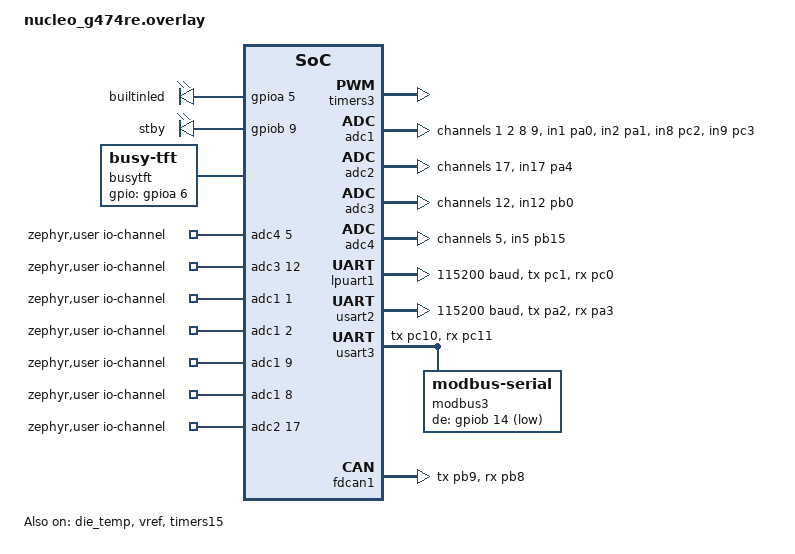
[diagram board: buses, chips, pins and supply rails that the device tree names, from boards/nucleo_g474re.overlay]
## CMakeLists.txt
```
# SPDX-License-Identifier: Apache-2.0

cmake_minimum_required(VERSION 3.20.0)
find_package(Zephyr REQUIRED HINTS $ENV{ZEPHYR_BASE})
project(PI_ONE)


target_include_directories(app PRIVATE inc)
FILE(GLOB app_sources src/*.c src/*.cpp)
# target_sources(app PRIVATE src/main.c)
target_sources(app PRIVATE ${app_sources})

#optimizain disable begin
add_library(set-app-flags INTERFACE)
target_compile_options(set-app-flags INTERFACE -O0)
target_link_libraries(app PRIVATE set-app-flags)
#optimizain disable end
```

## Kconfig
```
mainmenu "PI_ONE"


source "Kconfig.zephyr"
config PI_ONE_STM32_HAL
  default y
  bool
  select USE_STM32_HAL_GPIO
  select USE_STM32_HAL_HRTIM
	select USE_STM32_HAL_ADC
	select USE_STM32_HAL_ADC_EX


config SAMPLE_LOOPBACK_MODE
	bool "Use CAN loopback mode"
	help
	  Set the CAN controller to loopback mode. This allows testing without a second board.

config SAMPLE_RX_THREAD_STACK_SIZE
	int "RX threads stack size"
	default 1024
	help
	  Stack size (in bytes) used for the RX threads.

config SAMPLE_RX_THREAD_PRIORITY
	int "RX threads priority"
	default 2
	help
	  Priority used for the RX threads.

config SAMPLE_CAN_FD_MODE
	bool "Use CAN FD"
	select CAN_FD_MODE

config ISOTP_RX_BUF_COUNT
	default 4 if SAMPLE_CAN_FD_MODE
	default 2
```

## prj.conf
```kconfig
CONFIG_STDOUT_CONSOLE=y
CONFIG_PRINTK=y
CONFIG_PWM=y
CONFIG_LOG=y
CONFIG_LOG_PRINTK=y
CONFIG_LOG_MODE_IMMEDIATE=y
CONFIG_PWM_LOG_LEVEL_DBG=y
CONFIG_ADC=y
CONFIG_GPIO=y
CONFIG_SERIAL=y
CONFIG_UART_INTERRUPT_DRIVEN=y
CONFIG_THREAD_ANALYZER=y
# CONFIG_THREAD_ANALYZER_AUTO=y
# CONFIG_THREAD_ANALYZER_AUTO_INTERVAL=5
CONFIG_THREAD_NAME=y
# CONFIG_MAIN_THREAD_PRIORITY=7

# CONFIG_BOOTLOADER_MCUBOOT=y
# CONFIG_MCUBOOT_SIGNATURE_KEY_FILE="bootloader/mcuboot/root-rsa-2048"
# CONFIG_OPENOCD=y

# CONFIG_USB_DFU_REBOOT=y

# CONFIG_USB_DFU_PERMANENT_DOWNLOAD=y

CONFIG_CMSIS_DSP=y


#modbus
CONFIG_LOG=y
CONFIG_GPIO=y
CONFIG_SERIAL=y
CONFIG_UART_INTERRUPT_DRIVEN=y
CONFIG_UART_LINE_CTRL=n
CONFIG_MODBUS=y
#client
CONFIG_MODBUS_ROLE_CLIENT=y
CONFIG_MAIN_STACK_SIZE=2048
#end client
# CONFIG_MODBUS_ROLE_SERVER=y
#modbus

#die sensro begin
CONFIG_SENSOR=y

#die sensor end


#can bagin
CONFIG_LOG=y

CONFIG_CAN=y
CONFIG_CAN_MAX_FILTER=8
CONFIG_ISOTP=y
# We have two receiving contexts that are bound to a single address.
CONFIG_ISOTP_RX_SF_FF_BUF_COUNT=2
#can end


#counter begin
CONFIG_COUNTER=y
# CONFIG_COUNTER_TIMER_STM32=y
# CONFIG_COUNTER_RTC_STM32=n

#counter end
```

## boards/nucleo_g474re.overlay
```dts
/{
	pwmleds {
		allpwms: allpwms{
			pwms = <&pwm3 1 PWM_KHZ(100) PWM_POLARITY_NORMAL>,
				   <&pwm3 2 PWM_KHZ(100) PWM_POLARITY_NORMAL>,
				   <&pwm3 3 PWM_KHZ(100) PWM_POLARITY_NORMAL>;

		};	
	};
	leds: leds {
		compatible = "gpio-leds";	
		builtinled: builtinled {
			gpios = < &gpioa 5 GPIO_ACTIVE_HIGH >;	
		};
		stby: stby {
			gpios = < &gpiob 9 (GPIO_PULL_DOWN | GPIO_ACTIVE_HIGH) >;	
		};
	};

	busytft: busytft{
		compatible = "busy-tft";
		gpios = <&gpioa 6 GPIO_PULL_DOWN>;

	};
	aliases {

		led0 = &builtinled;
		modbus = &modbus3;
		lcdusart = &lpuart1;
		// lcdusart = &usart2;
		die-temp0 = &die_temp;

	};
	
	zephyr,user {
		io-channels = <&adc4 5>, <&adc3 12>, <&adc1 1>, <&adc1 2>, <&adc1 9>, <&adc1 8>, <&adc2 17>;
	};
	chosen {
		// zephyr,console = &lpuart1;
		// zephyr,shell-uart = &lpuart1;
		zephyr,console = &usart2;
		zephyr,shell-uart = &usart2;
		// zephyr,console = &usart1;
		// zephyr,shell-uart = &usart1;
	};
};

&green_pwm_led {
	status = "disabled";
};

// &timers1 {
// 	st,prescaler = <1>;
// 	status = "okay";

// 	pwm1: pwm {
// 		status = "okay";
// 		pinctrl-0 = <&tim1_ch1_pa8 &tim1_ch2_pa9>;
// 		pinctrl-names = "default";
// 	};
// };

&timers3 {
	st,prescaler = <1>;
	status = "okay";

	pwm3: pwm {
		status = "okay";
		pinctrl-0 = < &tim3_ch1_pc6 &tim3_ch2_pa7 &tim3_ch3_pc8>;
		pinctrl-names = "default";
	};
};


&adc1 {
	
	st,adc-prescaler = < 4 >;
	status = "okay";
	#address-cells = <1>;
	#size-cells = <0>;
	st,adc-clock-source = <SYNC>;
	pinctrl-0 = <&adc1_in1_pa0 &adc1_in2_pa1 &adc1_in8_pc2 &adc1_in9_pc3>;
	pinctrl-names = "default";
	channel@1{
		reg = < 1 >;
		zephyr,gain = "ADC_GAIN_1";
		zephyr,reference = "ADC_REF_INTERNAL";	
		zephyr,acquisition-time = <ADC_ACQ_TIME_DEFAULT>;
		zephyr,resolution = <12>;
		// zephyr,vref-mv =<2048>;
		zephyr,oversampling = <4>;

	};

	channel@2{
		reg = <2>;
		zephyr,gain = "ADC_GAIN_1";
		zephyr,reference = "ADC_REF_INTERNAL";
		zephyr,acquisition-time = <ADC_ACQ_TIME_DEFAULT>;
		zephyr,resolution = <12>;
		zephyr,oversampling = <4>;

	};

	channel@8{
		reg = <8>;
		zephyr,gain = "ADC_GAIN_1";
		zephyr,reference = "ADC_REF_INTERNAL";
		zephyr,acquisition-time = <ADC_ACQ_TIME_DEFAULT>;
		zephyr,resolution = <12>;
		zephyr,oversampling = <4>;

	};

	channel@9{
		reg = <9>;
		zephyr,gain = "ADC_GAIN_1";
		zephyr,reference = "ADC_REF_INTERNAL";
		zephyr,acquisition-time = <ADC_ACQ_TIME_DEFAULT>;
		zephyr,resolution = <12>;
		zephyr,oversampling = <4>;

	};


};

&adc2 {
	st,adc-prescaler = < 2 >;
	status = "okay";
	#address-cells = <1>;
	#size-cells = <0>;
	st,adc-clock-source = <SYNC>;
	pinctrl-0 = <&adc2_in17_pa4>;
	pinctrl-names = "default";
	channel@11{
		reg = <0x11>;
		zephyr,gain = "ADC_GAIN_1";
		zephyr,reference = "ADC_REF_INTERNAL";
		zephyr,acquisition-time = <ADC_ACQ_TIME_DEFAULT>;
		zephyr,resolution = <12>;
		zephyr,oversampling = <4>;

	};

};


&adc3 {
	st,adc-prescaler = < 2 >;
	status = "okay";
	#address-cells = <1>;
	#size-cells = <0>;
	st,adc-clock-source = <SYNC>;
	pinctrl-0 = <&adc3_in12_pb0>;
	pinctrl-names = "default";
	channel@c{
		reg = <0xc>;
		zephyr,gain = "ADC_GAIN_1";
		zephyr,reference = "ADC_REF_INTERNAL";
		zephyr,acquisition-time = <ADC_ACQ_TIME_DEFAULT>;
		zephyr,resolution = <12>;
		zephyr,oversampling = <4>;

	};
};

&adc4 {
	st,adc-prescaler = < 2 >;
	status = "okay";
	#address-cells = <1>;
	#size-cells = <0>;
	st,adc-clock-source = <SYNC>;
	pinctrl-0 = <&adc4_in5_pb15>;
	pinctrl-names = "default";
	
	channel@5{
		reg = < 5 >;
		zephyr,gain = "ADC_GAIN_1";
		zephyr,reference = "ADC_REF_INTERNAL";
		zephyr,acquisition-time = <ADC_ACQ_TIME_DEFAULT>;
		zephyr,resolution = <12>;
		zephyr,oversampling = <4>;
		

	};
};

&lpuart1 {
	status = "okay";
	pinctrl-0 = < &lpuart1_tx_pc1 &lpuart1_rx_pc0>;
	// pinctrl-names = "default", "analog";
	current-speed = < 115200 >;
};


// &usart1 {
// 	status = "okay";
// 	pinctrl-0 = < &usart1_tx_pc4 &usart1_rx_pc5>;
// 	pinctrl-names = "default";
// 	current-speed = < 115200 >;	
// };



&usart2 {
	status = "okay";
	pinctrl-0 = < &usart2_tx_pa2 &usart2_rx_pa3 >;
	pinctrl-names = "default";
	current-speed = < 115200 >;
	// fifo-enable;
};



&usart3 {
	status = "okay";
	pinctrl-0 = < &usart3_tx_pc10 &usart3_rx_pc11 >;
	pinctrl-names = "default";
	modbus3: modbus{
		compatible = "zephyr,modbus-serial";
		status = "okay";
		de-gpios = < &gpiob 14 GPIO_ACTIVE_LOW >;
	};
};


&fdcan1 {
	status = "okay";
	pinctrl-0 = < &fdcan1_tx_pb9 &fdcan1_rx_pb8 >;
	pinctrl-names = "default";
};
&die_temp {
	status = "okay";
};


// &usb {
// 	status = "okay";
// };

// hrtim1_cha1_pa8
//hrtim1_cha2_pa9
// hrtim1_scin_pb6
//hrtim1_scout_pb1 
&vref {
	status = "okay";
	// vrefint-cal-mv = <2048>;
};

&clk_hsi {
	status = "disabled";
};

&clk_hse {
	status = "okay";
};

&pll {
	clocks = <&clk_hse>;
	div-m = <6>;
	mul-n = <85>;
	div-q = <2>;
	div-p = <2>;
};



&timers15 {
	leg_one_counter: counter {
		status = "okay";
	};

	status = "okay";
	st,prescaler = <0>;
};
```

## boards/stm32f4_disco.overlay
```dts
/{
	pwmleds: pwmleds {
		compatible = "pwm-leds";
		status = "okay";

		pwm_led0: pwm_led0 {
			pwms = <&pwm1 1 PWM_KHZ(100) PWM_POLARITY_NORMAL>;
		};

		pwm_led1: pwm_led1{
			pwms = < &pwm1 2 PWM_KHZ(100) PWM_POLARITY_NORMAL>;
		};
		pwm_led2: pwm_led2{

		pwms = < &pwm4 1 PWM_KHZ(100) PWM_POLARITY_NORMAL>;
		};
	};

	leds: leds {
		compatible = "gpio-leds";	
		green_led: led_6 {
			gpios = < &gpiod 15 GPIO_ACTIVE_HIGH >;	
		};
	};

	aliases {

		pwmt = &pwm_led0;
		pwmn = &pwm_led1;
		pwmtest = &pwm_led2;
		led0 = &green_led;
		deviceusart = &usart3;

	};

	zephyr,user {
		io-channels = <&adc1 0>, <&adc1 1>, <&adc1 12>, <&adc1 13>;
	};
	chosen {
		zephyr,console = &usart2;
		zephyr,shell-uart = &usart2;
	};
};


&timers1 {
	status = "okay";

	pwm1: pwm {
		status = "okay";
		// pinctrl-0 = <&tim1_ch1_pa8>;
		pinctrl-0 = <&tim1_ch1_pa8 &tim1_ch2_pa9>;
		pinctrl-names = "default";
	};
};

&timers4 {
	status = "okay";
	pwm4: pwm {
		status = "okay";
		pinctrl-0 = < &tim4_ch1_pb6>;
		pinctrl-names = "default";
	};
};


&adc1 {
	
	st,adc-prescaler = < 4 >;
	status = "okay";
	#address-cells = <1>;
	#size-cells = <0>;
	st,adc-clock-source = <SYNC>;
	pinctrl-0 = <&adc1_in0_pa0 &adc1_in1_pa1 &adc1_in12_pc2 &adc1_in13_pc3>;
	pinctrl-names = "default";
	channel@0{
		reg = < 0 >;
		zephyr,gain = "ADC_GAIN_1";
		zephyr,reference = "ADC_REF_INTERNAL";
		zephyr,acquisition-time = <ADC_ACQ_TIME_DEFAULT>;
		zephyr,resolution = <12>;

	};

	channel@1{
		reg = <1>;
		zephyr,gain = "ADC_GAIN_1";
		zephyr,reference = "ADC_REF_INTERNAL";
		zephyr,acquisition-time = <ADC_ACQ_TIME_DEFAULT>;
		zephyr,resolution = <12>;

	};

	channel@c{
		reg = <0xc>;
		zephyr,gain = "ADC_GAIN_1";
		zephyr,reference = "ADC_REF_INTERNAL";
		zephyr,acquisition-time = <ADC_ACQ_TIME_DEFAULT>;
		zephyr,resolution = <12>;

	};

	channel@d{
		reg = <0xd>;
		zephyr,gain = "ADC_GAIN_1";
		zephyr,reference = "ADC_REF_INTERNAL";
		zephyr,acquisition-time = <ADC_ACQ_TIME_DEFAULT>;
		zephyr,resolution = <12>;

	};
};

&adc3 {
	st,adc-prescaler = < 2 >;
	status = "okay";
	#address-cells = <1>;
	#size-cells = <0>;
	st,adc-clock-source = <SYNC>;
	pinctrl-0 = <&adc3_in12_pb0 &adc3_in1_pb1>;
	pinctrl-names = "default";
	channel@1{
		reg = < 1 >;
		zephyr,gain = "ADC_GAIN_1";
		zephyr,reference = "ADC_REF_INTERNAL";
		zephyr,acquisition-time = <ADC_ACQ_TIME_DEFAULT>;
		zephyr,resolution = <12>;

	};

	channel@c{
		reg = <0xc>;
		zephyr,gain = "ADC_GAIN_1";
		zephyr,reference = "ADC_REF_INTERNAL";
		zephyr,acquisition-time = <ADC_ACQ_TIME_DEFAULT>;
		zephyr,resolution = <12>;

	};
};

&adc4 {
	st,adc-prescaler = < 2 >;
	status = "okay";
	#address-cells = <1>;
	#size-cells = <0>;
	st,adc-clock-source = <SYNC>;
	pinctrl-0 = <&adc4_in5_pb15>;
	pinctrl-names = "default";
	channel@5{
		reg = < 5 >;
		zephyr,gain = "ADC_GAIN_1";
		zephyr,reference = "ADC_REF_INTERNAL";
		zephyr,acquisition-time = <ADC_ACQ_TIME_DEFAULT>;
		zephyr,resolution = <12>;

	};
};

// &usart1 {
// 	status = "disabled";
// };

&usart2 {
	status = "okay";
	pinctrl-0 = < &usart2_tx_pa2 &usart2_rx_pa3 >;
	pinctrl-names = "default";
	current-speed = < 115200 >;
};

&usart3 {
	status = "okay";
	pinctrl-0 = <  &usart3_tx_pc10 &usart3_rx_pc11 >;
	pinctrl-names = "default";
	current-speed = < 115200 >;
};


&can1 {
	status = "okay";
	pinctrl-0 = < &can1_tx_pb9 &can1_rx_pb8 >;
	pinctrl-names = "default";
};
```

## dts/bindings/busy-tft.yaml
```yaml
description: GPIO pin to check whether tft lcd is busy or not. 

compatible: "busy-tft"

properties:
  gpios:
    type: phandle-array
    required: true
    description: |
      The GPIO connected to the busy pin from LCD.
```

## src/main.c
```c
/*
 * Copyright (c) 2016 Intel Corporation
 * Copyright (c) 2020 Nordic Semiconductor ASA
 *
 * SPDX-License-Identifier: Apache-2.0
 */

/**
 * @file Sample app to demonstrate PLONE.
 * 1-Manual Settings
 * 1-1-CoV mode
 * 1-2-BatCh mode
 * 2-Auto settings
 */



#include <stm32g4xx_hal.h>
#include <zephyr/drivers/sensor.h>
#include "../inc/main.h"
#include "../inc/leds.h"
#include "../inc/adcs.h"
#include "../inc/pwms.h"
#include "../inc/modbus.h"
#include "hrtim.h"
#include "queues.h"
#include "controllers.h"
#include "math.h"
#include "closedLoop.h"
#include "counters.h"



LOG_MODULE_REGISTER(main, LOG_LEVEL_NONE);

#if !DT_NODE_EXISTS(DT_NODELABEL(busytft))
#error "Overlay for busytft node not properly defined."
#endif
const struct device *tempSensor = DEVICE_DT_GET(DT_NODELABEL(die_temp));
static const struct gpio_dt_spec busytft =
	GPIO_DT_SPEC_GET_BY_IDX(DT_NODELABEL(busytft), gpios, 0);

static const struct gpio_dt_spec stby = GPIO_DT_SPEC_GET_OR(DT_NODELABEL(stby), gpios,
							      {0});
								  
void Error_Handler(){}
bool checkSequence();
void stbyInit();
PIController PI_voltage;


void initBusyTft()
{
	if(!gpio_is_ready_dt(&busytft))
	{
		LOG_INF("The gpio is not ready.\n");
		return;
	}
	LOG_INF("The gpio is ready to use.\n");
}

void stbyInit()
{
    int ret;
	if (!gpio_is_ready_dt(&stby)) {
		printk("Error: button device %s is not ready\n",
		       stby.port->name);
		return 0;
	}
    ret = gpio_pin_configure_dt(&stby, GPIO_OUTPUT_INACTIVE);

	if (ret != 0) {
		printk("Error %d: failed to configure %s pin %d\n",
		       ret, stby.port->name, stby.pin);
		return 0;
	}

}

void initBoard()
{

	initLeds();
	stbyInit();
	// counter();
	initBusyTft();

// MX_ADC1_Init();
	initAdcs();
	HAL_MspInit();
	initPwms();
	// initCan();
// #ifdef MASTER
// 	rtuClientInit();
// #else
// 	rtuServerInit();
// #endif
}

bool faultHandler(bool status)
{

	if(status)
	{
		pwmSet(DATA_LED_IDX, GREEN_FREQUENCY, 0.5);
		LOG_INF("The led turns green.\n");
	}
	else
	{
		turnOffAllPWMs();
		pwmSet(DATA_LED_IDX, RED_FREQUENCY, 0.5);
		LOG_INF("The led turns red.\n");
		return true;
	}
	return false;
}
void automaticMode()
{
	LOG_INF("Entered automatic mode.\n");
}

void COVMode()
{
	LOG_INF("COVMode is selected.\n");
#ifdef MASTER
	//master calculations for each board
	LOG_INF("Master calculations for each slave.\n");
	//sending parameters for each slave
	LOG_INF("Parameters are sent for each slave.\n");
#else
	//receiving paramters from master.
	LOG_INF("Receiving paramters from master");
#endif
	bool status = true;
	bool fault = false;
	while(count && !fault)// perhaps wait for semaphor to execute
	{
		count = 0;
		status = checkSequence();
		fault = faultHandler(status);
		// voltagePiCotroller();
	}
}

bool getSlaveStatus(uint8_t index)
{
	
}
void COVModeBatChMode()
{
	LOG_INF("COVMode with BatChMode is selected.\n");
#ifdef MASTER
	//master calculations for each board
	LOG_INF("Master calculations for each slave.\n");
	//sending parameters for each slave
	LOG_INF("Parameters are sent for each slave.\n");
#else
	//receiving paramters from master.
	LOG_INF("Receiving paramters from master");
#endif

	bool status = true;
	bool fault = false;
	while(1 && !fault)// perhaps wait for semaphor to execute
	{
		status = checkSequence();
		fault = faultHandler(status);
		// currentPiCotroller();
	}

}
void uniMode()
{
	LOG_INF("Unidirectional Selected.\n");
	LOG_INF("Please select 1 for COVMode and 2 for COVMode with BatChMode.\n");
	uint8_t mode = 0;
	while(k_msgq_get(&lcdMsg, &mode, K_FOREVER));
	//reading from lcd.
	if(mode == 1)
	{
		LOG_INF("COVMode is selected.\n");
		COVMode();
	}
	else if (mode == 2)
	{
		LOG_INF("COVMode with BatChMode is selected.\n");
		COVModeBatChMode();
	}
	else
		LOG_INF("Wrong choice.\n");

}

void powerToOutput()
{
	LOG_INF("Power from input to the output.\n");
}

void powerToInput()
{
	LOG_INF("Power from output to the input.\n");
}

void biMode()
{
	LOG_INF("Entered Bidirectional mode.\n");
	LOG_INF("Please enter voltage battery charge and discharge.\n");
#ifdef DEBUG 
	int vBatCharge, vBatDischarge, inputVoltage;
	printf("Enter voltage baterry charge, discharge and input voltage with space between them.\n");
	scanf("%d %d %d", &vBatCharge, &vBatDischarge, &inputVoltage);
#else
	uint16_t vBatCharge, vBatDischarge, inputVoltage;
	inputVoltage = readAdc(VIN_IDX);
	//vbatCharge and discharge must be provided by user.
#endif
	if(inputVoltage > vBatCharge)
	{
		powerToOutput();
	}
	else
	{
		powerToInput();
	}
}

void manualMode()
{
	LOG_INF("Entered manual mode.\n");
	LOG_INF("Please enter 1 for Unidirectional mode and 2 for Bidirectional mode.\n");
#ifdef DEBUG
	int mode = 0;
	while(k_msgq_get(&lcdMsg, &mode, K_FOREVER));
#else

	float mode = 0;
	//the mode value must be given from uart lcd.
#endif
	while (!((mode == 1) || (mode == 2)))
	{
		LOG_INF("The entered value is incorrect.\n");
		LOG_INF("Please enter 1 for Unidirectional mode and 2 for Bidirectional mode.\n");
		while(k_msgq_get(&lcdMsg, &mode, K_FOREVER));
		// scanf("%d", &mode);
	}	
	if(mode == 1)
	{
		uniMode();
	}
	else
	{
		biMode();
	}
}
bool checkSequence()
{
	uint16_t fan;
#ifdef DEBUG
	printf("What are the values of the following? enter with a sapce between them:\n");
	printf("Now these values are given by the tester user to check the logic of the program.\n");
	printf("In real application these values will be read by the ADC.\n");
	printf("temp temp2 temp_mcu vin vout iIn iOut.\n");
	uint16_t tempSet, temp2Set, tempMcuSet, vInSet, vOutSet, iInSet, iOutSet;
	while(k_msgq_get(&lcdMsg, &tempSet, K_FOREVER));
	while(k_msgq_get(&lcdMsg, &temp2Set, K_FOREVER));
	while(k_msgq_get(&lcdMsg, &tempMcuSet, K_FOREVER));
	while(k_msgq_get(&lcdMsg, &vInSet, K_FOREVER));
	while(k_msgq_get(&lcdMsg, &vOutSet, K_FOREVER));
	while(k_msgq_get(&lcdMsg, &iInSet, K_FOREVER));
	while(k_msgq_get(&lcdMsg, &iOutSet, K_FOREVER));
#elif defined RELEASE
	//struct sensor_value tempStruct;
	//int32_t temp;

	//sensor_sample_fetch(tempSensor);

	//sensor_channel_get(tempSensor, SENSOR_CHAN_DIE_TEMP, &tempStruct);

	//LOG_INF("temp: %d.%06d\n",tempStruct.val1, tempStruct.val2);
	//temp = tempStruct.val1;

#endif
	float temp1 = realTemp(TEMP_IDX);
	LOG_INF("Temp value is: %f\n", temp1);
	float temp2 = realTemp(TEMP2_IDX);
	LOG_INF("Temp2 value is: %f\n", temp2);
	//LOG_DBG("temp mcu value is: %u\n", temp);
	//LOG_DBG("TB value is: %u\n", temp);
	float vIn = realVoltage(VIN_IDX);
	LOG_INF("vin is %f", vIn);
	float vOut = realVoltageN(VOUT_IDX);
	LOG_INF("vout is %f", vOut);
	float iIn = realCurrent(I_IN_IDX);
	LOG_INF("I in value is: %f", iIn);
	float iOut = realCurrent(I_OUT_IDX);
	LOG_INF("I out value is: %f", iOut);


	if((temp1 < TB_INIT_MAX) && (vIn < VIN_INIT_MAX) && ( vOut < VOUT_INIT_MAX) && (iIn < I_IN_INIT_MAX) && (iOut < I_OUT_INIT_MAX))
	{
		return true;
	}
	else
		return false;
}

int tftAccess()
{
	uint8_t userSelection;
	LOG_DBG("Enter user selection.\n");
	while(k_msgq_get(&lcdMsg, &userSelection, K_FOREVER));
	LOG_INF("The user has selected option %u.\n", userSelection);
	return userSelection;
}

int main(void)
{

	initBoard();
	bool status;
	status = checkSequence();
	//pwmSet(HRTIM_IDX, 100000, 0.5);
	//ConfigPIController(&PI_voltage,Kp_i,Ti_i,Up_limit_i,Low_limit_i,F_samp);
	ConfigPIController(&PI_voltage,0.0017,(0.0017/5),0.5,0.2,10000);
	//Ki=Kp/Ti
	gpio_pin_set_dt(&stby, 1);
	


#ifdef DEBUG
status = true;
#endif
	faultHandler(status);
	int busytft = 0;
#ifdef DEBUG
	printf("Set the busyness of the LCD, 1 when the lcd is busy and 0 if the lcd is free.\n");
	while(k_msgq_get(&lcdMsg, &busytft, K_FOREVER));
	while (status && busytft)
	{
		printf("Set the busyness of the LCD, 1 when the lcd is busy and 0 if the lcd is free.\n");
		while(k_msgq_get(&lcdMsg, &busytft, K_FOREVER));
	}
	
#else
	//while((status) && (gpio_pin_get_dt(&busytft)));
#endif
	LOG_INF("The LCD is ready to accept commands.\n");
	LOG_INF("1 for automatic mode and 2 for the manual mode.\n");
	//int userSelection = tftAccess();
	//while(!((userSelection == 1) || (userSelection == 2)))
	//{
	//	LOG_INF("incorrect choice.\n");
	//	LOG_INF("1 for automatic mode and 2 for the manual mode.\n");
	//	userSelection = tftAccess();
	//}
	//if(userSelection == 1)
	//{
		// automaticMode();
	//}
	//else
	//{
		// manualMode();
	//}

	bool otherStatuses = true;
	while(1)
	{
		// while(count)
		// {


		// status = checkSequence();
#ifdef MASTER
//receive status of the whole system.
//check status of the whole system.
//if all statuses are ok conitunes
//else send command to all the devices to stop
		//for(uint8_t i = 0; i < NUMBERS_OF_SLAVES; i++)
		//{
			// otherStatuses &&= getSlaveStatus(i);
		//}
#else
		//send status to the master
		// receive others status from master
#endif
		// faultHandler(status && otherStatuses);
		//if((!status) && (!otherStatuses))
		//{
		//	pwmSet(DATA_LED_IDX, RED_FREQUENCY, 0.5);
		//}	
		//ledTurnOff();
		closedLoop(&PI_voltage, 12000);

		//ledTurnOn();
		
		//count = 0;
		// }
	}	
	return 0;
}
```

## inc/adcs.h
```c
#ifndef __ADCS__H
#define __ADCS__H

#ifdef __cplusplus
extern "C" {
#endif




#define TEMP_IDX                    0
#define TEMP2_IDX                   1
#define VIN_IDX                     2 
#define I_IN_IDX                    3 
#define VOUT_IDX                    4 
#define I_OUT_IDX                   5 
#define FAN_IN_IDX                  6
#define TEMP_MCU_IDX                7 

#include "main.h"

/*adc*/
#include <zephyr/device.h>
#include <zephyr/devicetree.h>
#include <zephyr/drivers/adc.h>
#include <zephyr/kernel.h>
#include <zephyr/sys/printk.h>
#include <zephyr/sys/util.h>


int initAdcs();

float realTemp(uint8_t index);
float realCurrent(uint8_t index);
float realVoltage(uint8_t index);
float realVoltageN(uint8_t index);
float fanSpeed();


#include "adc.h"

#ifdef __cplusplus
}
#endif
#endif
```

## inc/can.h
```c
#ifndef __CAN__H
#define __CAN__H

#include "main.h"
#include <zephyr/canbus/isotp.h>
#define CONFIG_RX_THREAD_STACK_SIZE      1024
int initCan();

#endif
```

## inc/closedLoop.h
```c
#ifndef __CLOSED_LOOP__H
#define __CLOSED_LOOP__H

#include "main.h"
#include "adcs.h"
#include "pwms.h"
#include "controllers.h"

int closedLoop(PIController* PI, float ovRef);

#endif
```

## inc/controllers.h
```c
#ifndef CONTROLLERS_H_
#define CONTROLLERS_H_

#include <stdint.h>
#include "adcs.h"
#include "pwms.h"

/**
 * Library written by ALEK GUEDEGBE for Workflow PSIM to IMPERIX
 * PI controller library
 * Definition and operation according to the Workflow PSIM to IMPERIX
 */



typedef struct{
	float kp,ti;				// Gain and time constant of PI
	float limup;				// Upper saturation value of the output
	float limlow;				// Lower saturation value of the output
	float ui_prev;				// Previous value of the integral component
	float e_prev;				// Previous value of the error
    	float Fsamp;                // sampling frequency of the PI controller
	float A1 ;

} PIController;


int closedLoop(PIController* PI, float ovRef);

/**
 * Routine to configure the PI controller 'me' and pre-compute the necessary constants.
 * @param *me		the PID pseudo-object to be configured
 * @param kp		proportional gain
 * @param ti		integral time constant
 * @param limup		upper saturation threshold of the output quantity
 * @param limlow	lower saturation threshold of the output quantity
 * @param Fsamp 	sampling (interrupt) frequency
 * @return void
 */

void ConfigPIController(PIController* me, float kp, float ti, float limup, float limlow, float Fsamp);



/**
 * Routines to run the pseudo-object 'me' depending of its actual nature (PI, PID, etc. controllers)
 * @param *me		the corresponding PID pseudo-object (parameters and state quantities)
 * @param error		the setpoint value minus the measured value
 * @return			the control variable for the measured quantity (output of the controller)
 */

float RunPIController(PIController* me, float error);


#endif /*CONTROLLERS_H_*/
```

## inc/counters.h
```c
#ifndef __ADC__H
#define __ADC__H

#ifdef __cplusplus
extern "C" {
#endif

#include <zephyr/kernel.h>

#include <zephyr/device.h>
#include <zephyr/drivers/counter.h>
#include <zephyr/sys/printk.h>

#define DELAY 50
#define ALARM_CHANNEL_ID 0

extern uint32_t count;


#if defined(CONFIG_BOARD_SAMD20_XPRO)
#define TIMER DT_NODELABEL(tc4)
#elif defined(CONFIG_SOC_FAMILY_ATMEL_SAM)
#define TIMER DT_NODELABEL(tc0)
#elif defined(CONFIG_COUNTER_MICROCHIP_MCP7940N)
#define TIMER DT_NODELABEL(extrtc0)
#elif defined(CONFIG_COUNTER_NRF_RTC)
#define TIMER DT_NODELABEL(rtc0)
#elif defined(CONFIG_COUNTER_TIMER_STM32)
// #define TIMER DT_INST(0, st_stm32_counter)
#define TIMER DT_NODELABEL(leg_one_counter)
#elif defined(CONFIG_COUNTER_RTC_STM32)
#define TIMER DT_INST(0, st_stm32_rtc)
#elif defined(CONFIG_COUNTER_SMARTBOND_TIMER)
#define TIMER DT_NODELABEL(timer3)
#elif defined(CONFIG_COUNTER_NATIVE_POSIX)
#define TIMER DT_NODELABEL(counter0)
#elif defined(CONFIG_COUNTER_XLNX_AXI_TIMER)
#define TIMER DT_INST(0, xlnx_xps_timer_1_00_a)
#elif defined(CONFIG_COUNTER_TMR_ESP32)
#define TIMER DT_NODELABEL(timer0)
#elif defined(CONFIG_COUNTER_MCUX_CTIMER)
#define TIMER DT_NODELABEL(ctimer0)
#elif defined(CONFIG_COUNTER_NXP_S32_SYS_TIMER)
#define TIMER DT_NODELABEL(stm0)
#elif defined(CONFIG_COUNTER_TIMER_GD32)
#define TIMER DT_NODELABEL(timer0)
#elif defined(CONFIG_COUNTER_GECKO_RTCC)
#define TIMER DT_NODELABEL(rtcc0)
#elif defined(CONFIG_COUNTER_GECKO_STIMER)
#define TIMER DT_NODELABEL(stimer0)
#elif defined(CONFIG_COUNTER_INFINEON_CAT1)
#define TIMER DT_NODELABEL(counter0_0)
#elif defined(CONFIG_COUNTER_AMBIQ)
#define TIMER DT_NODELABEL(counter0)
#elif defined(CONFIG_COUNTER_SNPS_DW)
#define TIMER DT_NODELABEL(timer0)
#elif defined(CONFIG_COUNTER_TIMER_RPI_PICO)
#define TIMER DT_NODELABEL(timer)
#endif

int counter();

#ifdef __cplusplus
}
#endif


#endif
```

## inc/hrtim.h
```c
/* USER CODE BEGIN Header */
/**
  ******************************************************************************
  * @file    hrtim.h
  * @brief   This file contains all the function prototypes for
  *          the hrtim.c file
  ******************************************************************************
  * @attention
  *
  * Copyright (c) 2024 STMicroelectronics.
  * All rights reserved.
  *
  * This software is licensed under terms that can be found in the LICENSE file
  * in the root directory of this software component.
  * If no LICENSE file comes with this software, it is provided AS-IS.
  *
  ******************************************************************************
  */
/* USER CODE END Header */
/* Define to prevent recursive inclusion -------------------------------------*/
#ifndef __HRTIM_H__
#define __HRTIM_H__

#ifdef __cplusplus
extern "C" {
#endif

/* Includes ------------------------------------------------------------------*/
#include "main.h"
#include "gpio.h"
/* USER CODE BEGIN Includes */

/* USER CODE END Includes */

extern HRTIM_HandleTypeDef hhrtim1;

/* USER CODE BEGIN Private defines */
#define MICRO_CLK_170
#ifdef MICRO_CLK_150
/*
  The duration of pwm is equal to (TIMA_PERIOD / (150000000 * 32)).
  So, for the given value, duration = 48000/(150000000 * 32) = 10 us
*/
#define TIMA_PERIOD 48000 
/*
  The dead time between each channel is equal to (DEAD_TIME / (150000000 * 8)).
  For the given value, dead time = 240/(150000000 * 8) = 200 ns.
*/
#define	DEAD_TIME 240	//
#elif defined MICRO_CLK_170

/*
  The duration of pwm is equal to (TIMA_PERIOD / (170000000 * 32)).
  So, for the given value, duration = 54400/(170000000 * 32) = 10 us
*/
#define TIMA_PERIOD 54400 
/*
  The dead time between each channel is equal to (DEAD_TIME / (170000000 * 8)).
  For the given value, dead time = 272/(170000000 * 8) = 200 ns.
*/

#define	DEAD_TIME 272	//
#else
#error "One of MICRO_CLK_150 or MICRO_CLK_170 must be defined"
#endif
/* USER CODE END Private defines */

void MX_HRTIM1_Init(void);

void HAL_HRTIM_MspPostInit(HRTIM_HandleTypeDef *hhrtim);

/* USER CODE BEGIN Prototypes */
/* USER CODE END Prototypes */

#ifdef __cplusplus
}
#endif

#endif /* __HRTIM_H__ */
```

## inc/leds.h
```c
#ifndef __LED__H
#define __LED__H

#include "main.h"
#include <zephyr/drivers/gpio.h>
/* The devicetree node identifier for the "led0" alias. */
#define LED0_NODE DT_ALIAS(led0)
int initLeds();
int ledToggle();
void ledTurnOn();
void ledTurnOff();

#endif
```

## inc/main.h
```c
#ifndef __MAIN__H
#define __MAIN__H
 
#include <zephyr/kernel.h>
#include <zephyr/sys/printk.h>
#include <zephyr/device.h>
#include <zephyr/drivers/pwm.h>
#include <zephyr/logging/log.h>
#include <stm32g4xx.h>
#include "adcs.h"

#define MASTER
#define RELEASE
#ifdef RELEASE

#elif defined DEBUG
#else
#error "you must define DEBUG or RELEASE"
#endif


#ifdef MASTER 

#elif defined SLAVE 
#else
#error "you must define MASTER or SLAVE."
#endif


#define USART_SHELL_PRIORITY     7
#define USART_DEVICE_PRIORITY    7

// #define CONFIG_SAMPLE_RX_THREAD_PRIORITY    7


// shall change TB_INIT to TB_INIT_MAX?
#define TB_INIT_MAX			60	
#define TB_INIT_MIN		    -10
#define VIN_INIT_MAX		110000//50 V limit
#define VIN_INIT_MIN		10000
#define VOUT_INIT_MAX		50000
#define VOUT_INIT_MIN       10000
#define I_IN_INIT_MAX		35000 // high value 
#define I_OUT_INIT_MAX		35000 // high value to no trigger protection 

//#define MAX_INPUT_CURRENT	25
//#define MAX_OUTPUT_CURRENT 20
// INIT MEAN LIMITATION FOR BOARD PROTECTION 
//MAX TEMP - MIN TEMP - MAX VOUT - MIN VOUT - MAX VIN - MIN VIN - MAX IN -  MIN IN 
//ALL TIME CHECKUP IS TO MAKE SURE WE ARE IN THE INTERVAL DEFINE BY THESES VALUES 

#define NUMBERS_OF_SLAVES   3

#define VREF                2500
void Error_Handler(void);

void HAL_MspInit(void);
#endif
```

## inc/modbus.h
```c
#ifndef __MODBUS__H
#define __MODBUS__H


#include <zephyr/kernel.h>
#include <zephyr/sys/util.h>
#include <zephyr/drivers/gpio.h>
#include <zephyr/modbus/modbus.h>

#include <zephyr/logging/log.h>

#include "main.h"
int rtuServerInit();
int rtuClientInit();


#endif
```

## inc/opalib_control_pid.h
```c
/*
 * Copyright (c) 2021 LAAS-CNRS
 *
 *   This program is free software: you can redistribute it and/or modify
 *   it under the terms of the GNU Lesser General Public License as published by
 *   the Free Software Foundation, either version 2.1 of the License, or
 *   (at your option) any later version.
 *
 *   This program is distributed in the hope that it will be useful,
 *   but WITHOUT ANY WARRANTY; without even the implied warranty of
 *   MERCHANTABILITY or FITNESS FOR A PARTICULAR PURPOSE.  See the
 *   GNU Lesser General Public License for more details.
 *
 *   You should have received a copy of the GNU Lesser General Public License
 *   along with this program.  If not, see <https://www.gnu.org/licenses/>.
 *
 * SPDX-License-Identifier: LGLPV2.1
 */
/**
 * @author  Jean Alinei <jean.alinei@laas.fr>
 * @author  Clément Foucher <clement.foucher@laas.fr>
 * @author  Antoine Boche <antoine.boche@laas.fr>
 */

#ifndef OPALIB_CONTROL_H_
#define OPALIB_CONTROL_H_

#include <zephyr/kernel.h>
#include <arm_math.h>   // adds all the CMSIS library

#ifdef __cplusplus
extern "C" {
#endif

/**
 * @brief     This function initialize all the parameters
 * needed for the PID calculation for the buck topology
 *
 * @param[in] kp        Proportional gain for PID calculation
 * @param[in] ki        Integral gain for PID calculation
 * @param[in] kd        Derivative gain for PID calculation
 * @param[in] task_period_us the period of the control task in micro-seconds
 */
void opalib_control_init_interleaved_pid(float32_t kp, float32_t ki, float32_t kd, uint32_t task_period_us);

/**
 * @brief     This function initialize all the parameters for leg 1
 *
 * @param[in] kp        Proportional gain for PID calculation
 * @param[in] ki        Integral gain for PID calculation
 * @param[in] kd        Derivative gain for PID calculation
 * @param[in] task_period_us the period of the control task in micro-seconds
 */
void opalib_control_init_leg1_pid(float32_t kp, float32_t ki, float32_t kd, uint32_t task_period_us);

/**
 * @brief     This function initialize all the parameters for leg 2
 *
 * @param[in] kp        Proportional gain for PID calculation
 * @param[in] ki        Integral gain for PID calculation
 * @param[in] kd        Derivative gain for PID calculation
 * @param[in] task_period_us the period of the control task in micro-seconds
 */
void opalib_control_init_leg2_pid(float32_t kp, float32_t ki, float32_t kd, uint32_t task_period_us);


/**
 * @brief     This function initialize all the parameters for leg 2
 *
 * @param[in] kp        Proportional gain for PID calculation
 * @param[in] ki        Integral gain for PID calculation
 * @param[in] kd        Derivative gain for PID calculation
 * @param[in] task_period_us the period of the control task in micro-seconds
 */
void opalib_control_init_motor_pid(float32_t kp, float32_t ki, float32_t kd, uint32_t motor_control_period_us, float32_t saturation_high, float32_t saturation_low);

/**
 * @brief     This function update the saturation value used to protect both legs in the pid calculation
 * 
 * @param[in] new_saturation_value      The new saturation value to be set
 */
void opalib_control_update_saturation_interleaved(float32_t new_saturation_value);


/**
 * @brief     This function update the saturation value used to protect leg1 in the pid calculation
 * 
 * @param[in] new_saturation_value      The new saturation value to be set
 */
void opalib_control_update_saturation_leg1(float32_t new_saturation_value);

/**
 * @brief     This function update the saturation value used to protect leg2 in the pid calculation
 * 
 * @param[in] new_saturation_value      The new saturation value to be set
 */
void opalib_control_update_saturation_leg2(float32_t new_saturation_value);


/**
 * @brief     This function calculates the error and calls a single pid for both legs to get an updated value for the duty cycle
 * 
 * @param[in] voltage_reference    floating point reference value to be tracked
 * @param[in] measurement   floating point measurement of the value used to calculate the error
 * 
 * @return  duty cycle to be sent to HRTIM peripheral
 */

float32_t opalib_control_interleaved_pid_calculation(float32_t reference, float32_t measurement);


/**
 * @brief     This function calculates the error and calls pid 1 to get an updated value for the duty cycle
 * 
 * @param[in] voltage_reference    floating point reference value to be tracked
 * @param[in] measurement   floating point measurement of the value used to calculate the error
 * 
 * @return  duty cycle to be sent to HRTIM peripheral
 */

float32_t opalib_control_leg1_pid_calculation(float32_t reference, float32_t measurement);

/**
 * @brief     This function calculates the error and calls pid 2 to get an updated value for the duty cycle
 * 
 * @param[in] voltage_reference    floating point reference value to be tracked
 * @param[in] measurement   floating point measurement of the value used to calculate the error
 * 
 * @return  duty cycle to be sent to HRTIM peripheral
 */

float32_t opalib_control_leg2_pid_calculation(float32_t reference, float32_t measurement);


/**
 * @brief     This function calculates the error and calls motor pid to get an updated value for the duty cycle
 * 
 * @param[in] voltage_reference    floating point reference value to be tracked
 * @param[in] measurement   floating point measurement of the value used to calculate the error
 * 
 * @return  duty cycle to be sent to HRTIM peripheral
 */
float32_t opalib_control_motor_pid_calculation(float32_t reference, float32_t measurement);



/**
 * @brief     This function updates the kp value for the pid control of the motor
 * 
 * @param[in] new_kp    floating point reference value to be tracked
 */
void opalib_control_motor_pid_kp_update(float32_t new_kp);

/**
 * @brief     This function updates the ki value for the pid control of the motor
 * 
 * @param[in] new_ki    floating point reference value to be tracked
 */
void opalib_control_motor_pid_ki_update(float32_t new_ki);


/**
 * @brief This function reset the pid state
 */
void opalib_control_pid_reset_state(void);




#ifdef __cplusplus
}
#endif

#endif // OPALIB_CONTROL_H_
```

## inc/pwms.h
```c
#ifndef __PWM__H
#define __PWM__H

#include "main.h"
#include <zephyr/device.h>
#include <zephyr/devicetree.h>
#include <zephyr/drivers/pwm.h>
#include <zephyr/kernel.h>
#include <zephyr/sys/printk.h>
#include <zephyr/sys/util.h>
#define GREEN_FREQUENCY             100
#define RED_FREQUENCY               200

#define FAN_Reg_speed_IDX           0 
#define DATA_LED_IDX                1 
#define Buzzer_IDX                  2 
#define HRTIM_IDX                   10

#define MAX_PERIOD 10000
void initPwms();
void pwmSet(uint8_t idx, uint32_t frequency, float dutycycle);
void turnOffAllPWMs();
#endif
```

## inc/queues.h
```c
#ifndef __QUEUES__H
#define __QUEUES__H

#define USART_MSG_LEN   40

#ifdef __cplusplus
extern "C"
{
#endif
#include "main.h"
#include <zephyr/kernel.h>

extern struct k_msgq lcdMsg;
#ifdef __cplusplus
}
#endif



#endif
```
